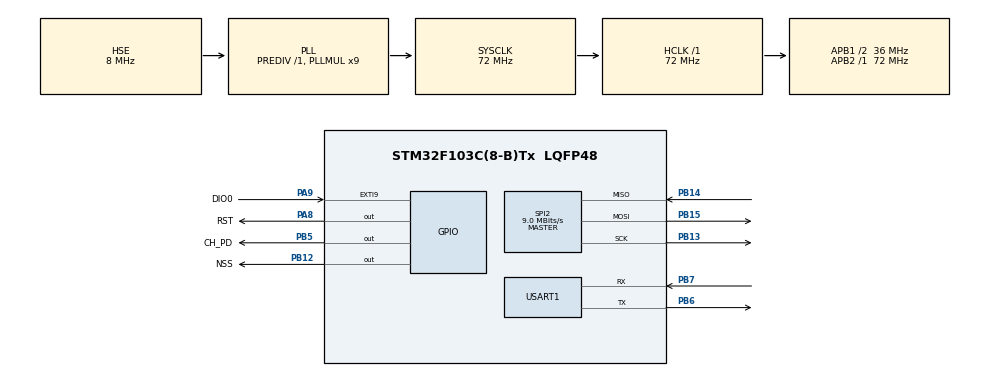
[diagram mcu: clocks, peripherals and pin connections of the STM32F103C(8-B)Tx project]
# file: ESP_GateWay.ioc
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Mcu.Family=STM32F1
Mcu.Name=STM32F103C(8-B)Tx
Mcu.Package=LQFP48
NVIC.EXTI9_5_IRQn=true\:1\:0\:true\:false\:true\:true\:true\:true
NVIC.PriorityGroup=NVIC_PRIORITYGROUP_4
NVIC.TIM2_IRQn=true\:2\:0\:true\:false\:true\:true\:true\:true
PA13.Mode=Serial_Wire
PA13.Signal=SYS_JTMS-SWDIO
PA14.Mode=Serial_Wire
PA14.Signal=SYS_JTCK-SWCLK
PA8.GPIO_Label=RST
PA8.Signal=GPIO_Output
PA9.GPIO_Label=DIO0
PA9.Signal=GPXTI9
PB12.GPIO_Label=NSS
PB12.Signal=GPIO_Output
PB13.Mode=Full_Duplex_Master
PB13.Signal=SPI2_SCK
PB14.Mode=Full_Duplex_Master
PB14.Signal=SPI2_MISO
PB15.Mode=Full_Duplex_Master
PB15.Signal=SPI2_MOSI
PB5.GPIO_Label=CH_PD
PB5.Signal=GPIO_Output
PB6.Mode=Asynchronous
PB6.Signal=USART1_TX
PB7.Mode=Asynchronous
PB7.Signal=USART1_RX
PD0-OSC_IN.Mode=HSE-External-Oscillator
PD0-OSC_IN.Signal=RCC_OSC_IN
PD1-OSC_OUT.Mode=HSE-External-Oscillator
PD1-OSC_OUT.Signal=RCC_OSC_OUT
ProjectManager.HeapSize=0x200
ProjectManager.StackSize=0x400
ProjectManager.TargetToolchain=MDK-ARM V5.32
RCC.AHBFreq_Value=72000000
RCC.APB1CLKDivider=RCC_HCLK_DIV2
RCC.APB1Freq_Value=36000000
RCC.APB1TimFreq_Value=72000000
RCC.APB2Freq_Value=72000000
RCC.APB2TimFreq_Value=72000000
RCC.HCLKFreq_Value=72000000
RCC.PLLMUL=RCC_PLL_MUL9
RCC.PLLSourceVirtual=RCC_PLLSOURCE_HSE
RCC.SYSCLKFreq_VALUE=72000000
RCC.SYSCLKSource=RCC_SYSCLKSOURCE_PLLCLK
RCC.USBFreq_Value=72000000
SPI2.BaudRatePrescaler=SPI_BAUDRATEPRESCALER_4
SPI2.CalculateBaudRate=9.0 MBits/s
SPI2.DataSize=SPI_DATASIZE_8BIT
SPI2.Direction=SPI_DIRECTION_2LINES
SPI2.Mode=SPI_MODE_MASTER
SPI2.VirtualType=VM_MASTER
TIM2.Period=1999
TIM2.Prescaler=35999
USART1.VirtualMode=VM_ASYNC
VP_TIM2_VS_ClockSourceINT.Mode=Internal
board=custom

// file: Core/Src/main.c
/* USER CODE BEGIN Header */
/**
  ******************************************************************************
  * @file           : main.c
  * @brief          : Main program body
  ******************************************************************************
  * @attention
  *
  * Copyright (c) 2023 STMicroelectronics.
  * All rights reserved.
  *
  * This software is licensed under terms that can be found in the LICENSE file
  * in the root directory of this software component.
  * If no LICENSE file comes with this software, it is provided AS-IS.
  *
  ******************************************************************************
  */
/* USER CODE END Header */
#include "main.h"

/* USER CODE BEGIN Includes */
#include <stdio.h>
#include <stdint.h>
#include <math.h>
#include "esp8266.h"
#include "LoRa.h"
/* USER CODE END Includes */

SPI_HandleTypeDef hspi2;

TIM_HandleTypeDef htim2;

UART_HandleTypeDef huart1;

/* USER CODE BEGIN PV */
LoRa myLoRa;
uint8_t LoRa_stat =0;
uint8_t TxBuffer[128];
uint8_t RxBuffer[128];
uint8_t timerCount =0;

uint8_t id;
uint32_t data;
/* USER CODE END PV */

void SystemClock_Config(void);
static void MX_GPIO_Init(void);
static void MX_USART1_UART_Init(void);
static void MX_SPI2_Init(void);
static void MX_TIM2_Init(void);
/* USER CODE BEGIN PFP */
void Setup_LoRa(void);
uint32_t retrieveUint32FromArray(const uint8_t* array);
/* USER CODE END PFP */

int main(void)
{

  /* MCU Configuration--------------------------------------------------------*/

  /* Reset of all peripherals, Initializes the Flash interface and the Systick. */
  HAL_Init();

  /* Configure the system clock */
  SystemClock_Config();

  /* Initialize all configured peripherals */
  MX_GPIO_Init();
  MX_USART1_UART_Init();
  MX_SPI2_Init();
  MX_TIM2_Init();
  /* USER CODE BEGIN 2 */
	/* -----------Setup Lora Side-------------- */
	Setup_LoRa();

	/* --------------Setup Esp Side-------------- */
	HAL_GPIO_WritePin(GPIOB,GPIO_PIN_5,GPIO_PIN_SET);
	Esp8266_Init(huart1);

	/*--------Enable Irq Timer2----------*/
	//HAL_TIM_Base_Start_IT(&htim2);

  /* USER CODE END 2 */

  /* Infinite loop */
  /* USER CODE BEGIN WHILE */
  while (1)
  {

		HAL_Delay(3000);
		Esp8266_Connect(huart1);
		HAL_Delay(100);
		Esp8266_Sendata(huart1,14,20.5,1);
		HAL_Delay(2000);

    /* USER CODE END WHILE */

  }
}

void SystemClock_Config(void)
{
  RCC_OscInitTypeDef RCC_OscInitStruct = {0};
  RCC_ClkInitTypeDef RCC_ClkInitStruct = {0};

  /** Initializes the RCC Oscillators according to the specified parameters
  * in the RCC_OscInitTypeDef structure.
  */
  RCC_OscInitStruct.OscillatorType = RCC_OSCILLATORTYPE_HSE;
  RCC_OscInitStruct.HSEState = RCC_HSE_ON;
  RCC_OscInitStruct.HSEPredivValue = RCC_HSE_PREDIV_DIV1;
  RCC_OscInitStruct.HSIState = RCC_HSI_ON;
  RCC_OscInitStruct.PLL.PLLState = RCC_PLL_ON;
  RCC_OscInitStruct.PLL.PLLSource = RCC_PLLSOURCE_HSE;
  RCC_OscInitStruct.PLL.PLLMUL = RCC_PLL_MUL9;
  if (HAL_RCC_OscConfig(&RCC_OscInitStruct) != HAL_OK)
  {
    Error_Handler();
  }

  /** Initializes the CPU, AHB and APB buses clocks
  */
  RCC_ClkInitStruct.ClockType = RCC_CLOCKTYPE_HCLK|RCC_CLOCKTYPE_SYSCLK
                              |RCC_CLOCKTYPE_PCLK1|RCC_CLOCKTYPE_PCLK2;
  RCC_ClkInitStruct.SYSCLKSource = RCC_SYSCLKSOURCE_PLLCLK;
  RCC_ClkInitStruct.AHBCLKDivider = RCC_SYSCLK_DIV1;
  RCC_ClkInitStruct.APB1CLKDivider = RCC_HCLK_DIV2;
  RCC_ClkInitStruct.APB2CLKDivider = RCC_HCLK_DIV1;

  if (HAL_RCC_ClockConfig(&RCC_ClkInitStruct, FLASH_LATENCY_2) != HAL_OK)
  {
    Error_Handler();
  }
}

static void MX_SPI2_Init(void)
{

  /* SPI2 parameter configuration*/
  hspi2.Instance = SPI2;
  hspi2.Init.Mode = SPI_MODE_MASTER;
  hspi2.Init.Direction = SPI_DIRECTION_2LINES;
  hspi2.Init.DataSize = SPI_DATASIZE_8BIT;
  hspi2.Init.CLKPolarity = SPI_POLARITY_LOW;
  hspi2.Init.CLKPhase = SPI_PHASE_1EDGE;
  hspi2.Init.NSS = SPI_NSS_SOFT;
  hspi2.Init.BaudRatePrescaler = SPI_BAUDRATEPRESCALER_4;
  hspi2.Init.FirstBit = SPI_FIRSTBIT_MSB;
  hspi2.Init.TIMode = SPI_TIMODE_DISABLE;
  hspi2.Init.CRCCalculation = SPI_CRCCALCULATION_DISABLE;
  hspi2.Init.CRCPolynomial = 10;
  if (HAL_SPI_Init(&hspi2) != HAL_OK)
  {
    Error_Handler();
  }

}

static void MX_TIM2_Init(void)
{

  TIM_ClockConfigTypeDef sClockSourceConfig = {0};
  TIM_MasterConfigTypeDef sMasterConfig = {0};

  htim2.Instance = TIM2;
  htim2.Init.Prescaler = 35999;
  htim2.Init.CounterMode = TIM_COUNTERMODE_UP;
  htim2.Init.Period = 1999;
  htim2.Init.ClockDivision = TIM_CLOCKDIVISION_DIV1;
  htim2.Init.AutoReloadPreload = TIM_AUTORELOAD_PRELOAD_DISABLE;
  if (HAL_TIM_Base_Init(&htim2) != HAL_OK)
  {
    Error_Handler();
  }
  sClockSourceConfig.ClockSource = TIM_CLOCKSOURCE_INTERNAL;
  if (HAL_TIM_ConfigClockSource(&htim2, &sClockSourceConfig) != HAL_OK)
  {
    Error_Handler();
  }
  sMasterConfig.MasterOutputTrigger = TIM_TRGO_RESET;
  sMasterConfig.MasterSlaveMode = TIM_MASTERSLAVEMODE_DISABLE;
  if (HAL_TIMEx_MasterConfigSynchronization(&htim2, &sMasterConfig) != HAL_OK)
  {
    Error_Handler();
  }

}

static void MX_USART1_UART_Init(void)
{

  huart1.Instance = USART1;
  huart1.Init.BaudRate = 115200;
  huart1.Init.WordLength = UART_WORDLENGTH_8B;
  huart1.Init.StopBits = UART_STOPBITS_1;
  huart1.Init.Parity = UART_PARITY_NONE;
  huart1.Init.Mode = UART_MODE_TX_RX;
  huart1.Init.HwFlowCtl = UART_HWCONTROL_NONE;
  huart1.Init.OverSampling = UART_OVERSAMPLING_16;
  if (HAL_UART_Init(&huart1) != HAL_OK)
  {
    Error_Handler();
  }

}

static void MX_GPIO_Init(void)
{
  GPIO_InitTypeDef GPIO_InitStruct = {0};

  /* GPIO Ports Clock Enable */
  __HAL_RCC_GPIOD_CLK_ENABLE();
  __HAL_RCC_GPIOB_CLK_ENABLE();
  __HAL_RCC_GPIOA_CLK_ENABLE();

  /*Configure GPIO pin Output Level */
  HAL_GPIO_WritePin(GPIOB, NSS_Pin|CH_PD_Pin, GPIO_PIN_RESET);

  /*Configure GPIO pin Output Level */
  HAL_GPIO_WritePin(RST_GPIO_Port, RST_Pin, GPIO_PIN_RESET);

  /*Configure GPIO pins : NSS_Pin CH_PD_Pin */
  GPIO_InitStruct.Pin = NSS_Pin|CH_PD_Pin;
  GPIO_InitStruct.Mode = GPIO_MODE_OUTPUT_PP;
  GPIO_InitStruct.Pull = GPIO_NOPULL;
  GPIO_InitStruct.Speed = GPIO_SPEED_FREQ_LOW;
  HAL_GPIO_Init(GPIOB, &GPIO_InitStruct);

  /*Configure GPIO pin : RST_Pin */
  GPIO_InitStruct.Pin = RST_Pin;
  GPIO_InitStruct.Mode = GPIO_MODE_OUTPUT_PP;
  GPIO_InitStruct.Pull = GPIO_NOPULL;
  GPIO_InitStruct.Speed = GPIO_SPEED_FREQ_LOW;
  HAL_GPIO_Init(RST_GPIO_Port, &GPIO_InitStruct);

  /*Configure GPIO pin : DIO0_Pin */
  GPIO_InitStruct.Pin = DIO0_Pin;
  GPIO_InitStruct.Mode = GPIO_MODE_IT_RISING;
  GPIO_InitStruct.Pull = GPIO_NOPULL;
  HAL_GPIO_Init(DIO0_GPIO_Port, &GPIO_InitStruct);

  /* EXTI interrupt init*/
  HAL_NVIC_SetPriority(EXTI9_5_IRQn, 1, 0);
  HAL_NVIC_EnableIRQ(EXTI9_5_IRQn);

}

/* USER CODE BEGIN 4 */

/*-----------------------------Receive Side--------------------------------*/
void HAL_GPIO_EXTI_Callback(uint16_t GPIO_Pin)
{
	if(GPIO_Pin == DIO0_Pin)
	{
		LoRa_receive(&myLoRa,RxBuffer,128);
		if(RxBuffer[0] == 0x03){
			id = RxBuffer[1];
			data = retrieveUint32FromArray(RxBuffer);
		}
	}
}

void Setup_LoRa(void)
{
	myLoRa = newLoRa();
	myLoRa.CS_port         = NSS_GPIO_Port;
	myLoRa.CS_pin          = NSS_Pin;
	myLoRa.reset_port      = RST_GPIO_Port;
	myLoRa.reset_pin       = RST_Pin;
	myLoRa.DIO0_port       = DIO0_GPIO_Port;
	myLoRa.DIO0_pin        = DIO0_Pin;
	myLoRa.hSPIx           = &hspi2;

	myLoRa.frequency             = 440;             // default = 433 MHz
	myLoRa.spredingFactor        = SF_7;            // default = SF_7
	myLoRa.bandWidth             = BW_31_25KHz;       // default = BW_125KHz
	myLoRa.crcRate               = CR_4_5;          // default = CR_4_5
	myLoRa.power                 = POWER_20db;      // default = 20db
	myLoRa.overCurrentProtection = 130;             // default = 100 mA
	myLoRa.preamble              = 9;              // default = 8;

	if(LoRa_init(&myLoRa)==LORA_OK ){
		LoRa_stat = 1;
	}
	LoRa_startReceiving(&myLoRa);
}

uint32_t retrieveUint32FromArray(const uint8_t* array){
    uint32_t result = 0;
    result |= ((uint32_t)array[2] << 24);
    result |= ((uint32_t)array[3] << 16);
    result |= ((uint32_t)array[4] << 8);
    result |= array[5];
    return result;
}

/*-----------------------------Transmit Webserver Side--------------------------------*/
void HAL_TIM_PeriodElapsedCallback(TIM_HandleTypeDef *htim)
{
	if(htim->Instance == htim2.Instance)
	{
		timerCount++;
		/* delay 10s to send data */
		if(timerCount == 10){
			Esp8266_Connect(huart1);
			Esp8266_Sendata(huart1,13,34.7,1);
		}
	}
}

/* USER CODE END 4 */

void Error_Handler(void)
{
  __disable_irq();
  while (1)
  {
  }
}
